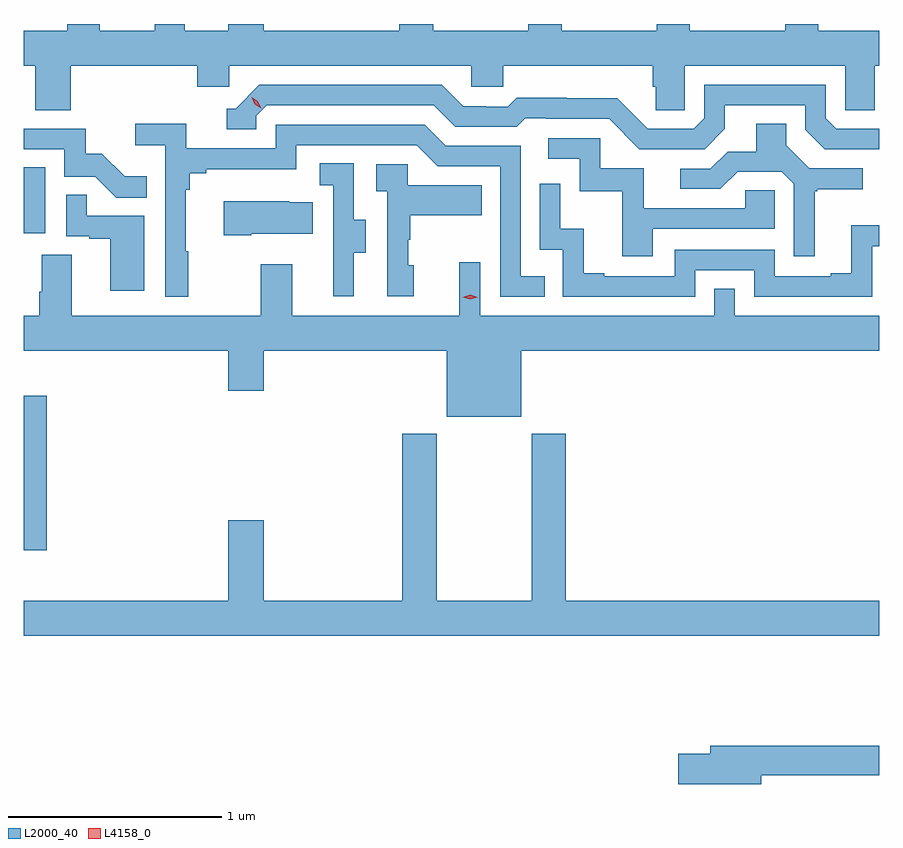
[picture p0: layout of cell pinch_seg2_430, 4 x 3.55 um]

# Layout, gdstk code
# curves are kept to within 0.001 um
import gdstk
lib = gdstk.Library(unit=1e-6, precision=1e-09)
def R(c, l, rs):  # rectangles x0, y0, x1, y1
    for r in rs: c.add(gdstk.rectangle(r[:2], r[2:], *l))
def P(c, l, *ps):  # polygons
    for p in ps: c.add(gdstk.Polygon(p, *l))
L2000_40 = (2000, 40)
L4158_0 = (4158, 0)

pinch_seg2_430 = lib.new_cell('pinch_seg2_430')
R(pinch_seg2_430, L2000_40, [(907.307,613.404,907.414,614.125), (907.307,614.886,907.408,615.193)])
P(pinch_seg2_430, L2000_40, [(911.022,615.864),(910.867,615.864),(910.867,615.832),(910.422,615.832),(910.422,615.864),(910.267,615.864),(910.267,615.832),(909.822,615.832),(909.822,615.864),(909.667,615.864),(909.667,615.832),(909.222,615.832),(909.222,615.864),(909.062,615.864),(909.062,615.832),(908.428,615.832),(908.428,615.864),(908.264,615.864),(908.264,615.832),(908.059,615.832),(908.059,615.864),(907.919,615.864),(907.919,615.832),(907.663,615.832),(907.663,615.864),(907.511,615.864),(907.511,615.832),(907.307,615.832),(907.307,615.668),(907.361,615.668),(907.361,615.46),(907.526,615.46),(907.526,615.668),(908.117,615.668),(908.117,615.57),(908.268,615.57),(908.268,615.668),(909.399,615.668),(909.399,615.57),(909.549,615.57),(909.549,615.668),(910.247,615.668),(910.247,615.57),(910.261,615.57),(910.261,615.46),(910.398,615.46),(910.398,615.668),(911.148,615.668),(911.148,615.46),(911.287,615.46),(911.287,615.668),(911.307,615.668),(911.307,615.832),(911.022,615.832)],
  [(911.307,615.375),(911.106,615.375),(911.058,615.423),(911.058,615.579),(910.488,615.579),(910.488,615.423),(910.44,615.375),(910.224,615.375),(910.082,615.517),(909.846,615.517),(909.846,615.52),(909.613,615.52),(909.571,615.477),(909.468,615.477),(909.468,615.48),(909.361,615.48),(909.262,615.579),(908.409,615.579),(908.298,615.468),(908.255,615.468),(908.255,615.372),(908.394,615.372),(908.394,615.435),(908.442,615.483),(909.225,615.483),(909.324,615.384),(909.613,615.384),(909.652,615.423),(909.751,615.423),(909.751,615.42),(910.044,615.42),(910.185,615.279),(910.491,615.279),(910.585,615.373),(910.585,615.483),(910.962,615.483),(910.962,615.369),(911.052,615.279),(911.307,615.278)],
  [(911.005,615.081),(911.017,615.081),(911.017,615.092),(911.23,615.092),(911.23,615.189),(910.98,615.189),(910.873,615.296),(910.873,615.398),(910.733,615.398),(910.733,615.266),(910.598,615.266),(910.518,615.186),(910.377,615.186),(910.377,615.093),(910.564,615.093),(910.645,615.174),(910.851,615.174),(910.908,615.117),(910.908,614.778),(911.005,614.778)],
  [(908.077,614.801),(908.065,614.801),(908.065,615.089),(908.084,615.089),(908.084,615.166),(908.161,615.166),(908.161,615.185),(908.58,615.185),(908.58,615.297),(909.144,615.297),(909.243,615.198),(909.534,615.198),(909.534,614.589),(909.743,614.589),(909.743,614.685),(909.63,614.685),(909.63,615.294),(909.28,615.294),(909.181,615.393),(908.484,615.393),(908.484,615.282),(908.066,615.282),(908.066,615.398),(907.827,615.398),(907.827,615.296),(907.968,615.296),(907.968,614.589),(908.077,614.589)],
  [(907.883,615.151),(907.779,615.151),(907.672,615.258),(907.596,615.258),(907.596,615.375),(907.307,615.375),(907.307,615.279),(907.497,615.279),(907.497,615.15),(907.641,615.15),(907.739,615.052),(907.883,615.052)],
  [(910.249,614.907),(910.818,614.907),(910.818,615.087),(910.681,615.087),(910.681,615.003),(910.207,615.003),(910.207,615.189),(910.002,615.189),(910.002,615.33),(909.759,615.33),(909.759,615.234),(909.906,615.234),(909.906,615.081),(910.105,615.081),(910.105,614.778),(910.249,614.778)],
  [(908.851,614.794),(908.905,614.794),(908.905,614.949),(908.85,614.949),(908.85,615.212),(908.691,615.212),(908.691,615.109),(908.754,615.109),(908.754,614.805),(908.753,614.805),(908.753,614.592),(908.851,614.592)],
  [(909.13,614.736),(909.105,614.736),(909.105,614.855),(909.115,614.855),(909.115,614.969),(909.449,614.969),(909.449,615.109),(909.102,615.109),(909.102,615.207),(908.955,615.207),(908.955,615.083),(909.006,615.083),(909.006,614.592),(909.13,614.592)],
  [(910.446,614.712),(910.722,614.712),(910.722,614.589),(911.274,614.589),(911.274,614.825),(911.307,614.825),(911.307,614.923),(911.177,614.923),(911.177,614.698),(911.081,614.698),(911.081,614.685),(910.818,614.685),(910.818,614.808),(910.35,614.808),(910.35,614.685),(910.021,614.685),(910.021,614.698),(909.926,614.698),(909.926,614.906),(909.816,614.906),(909.816,615.118),(909.72,615.118),(909.72,614.808),(909.828,614.808),(909.828,614.589),(910.446,614.589)],
  [(907.87,614.967),(907.601,614.967),(907.601,615.065),(907.506,615.065),(907.506,614.871),(907.613,614.871),(907.613,614.859),(907.712,614.859),(907.712,614.616),(907.87,614.616)],
  [(908.371,614.882),(908.657,614.882),(908.657,615.031),(908.549,615.031),(908.549,615.034),(908.243,615.034),(908.243,614.875),(908.371,614.875)],
  [(909.634,614.336),(911.307,614.336),(911.307,614.5),(910.632,614.5),(910.632,614.627),(910.536,614.627),(910.536,614.5),(909.441,614.5),(909.441,614.749),(909.344,614.749),(909.344,614.5),(908.563,614.5),(908.563,614.74),(908.416,614.74),(908.416,614.5),(907.531,614.5),(907.531,614.786),(907.391,614.786),(907.391,614.612),(907.379,614.612),(907.379,614.5),(907.307,614.5),(907.307,614.336),(908.264,614.336),(908.264,614.148),(908.428,614.148),(908.428,614.336),(909.284,614.336),(909.284,614.027),(909.634,614.027)],
  [(911.307,613.168),(909.842,613.168),(909.842,613.948),(909.682,613.948),(909.682,613.168),(909.237,613.168),(909.237,613.948),(909.077,613.948),(909.077,613.168),(908.428,613.168),(908.428,613.543),(908.264,613.543),(908.264,613.168),(907.307,613.168),(907.307,613.004),(911.307,613.004)],
  [(910.756,612.352),(911.307,612.352),(911.307,612.488),(910.517,612.488),(910.517,612.452),(910.368,612.452),(910.368,612.31),(910.756,612.31)])
P(pinch_seg2_430, L4158_0, [(909.394,614.577),(909.36,614.587),(909.359,614.587),(909.36,614.587),(909.394,614.597),(909.429,614.587),(909.429,614.586),(909.429,614.586)],
  [(908.418,615.47),(908.388,615.489),(908.372,615.522),(908.372,615.522),(908.372,615.522),(908.402,615.502),(908.418,615.47),(908.418,615.47)])

lib.write_gds('pinch_seg2_430.gds')
